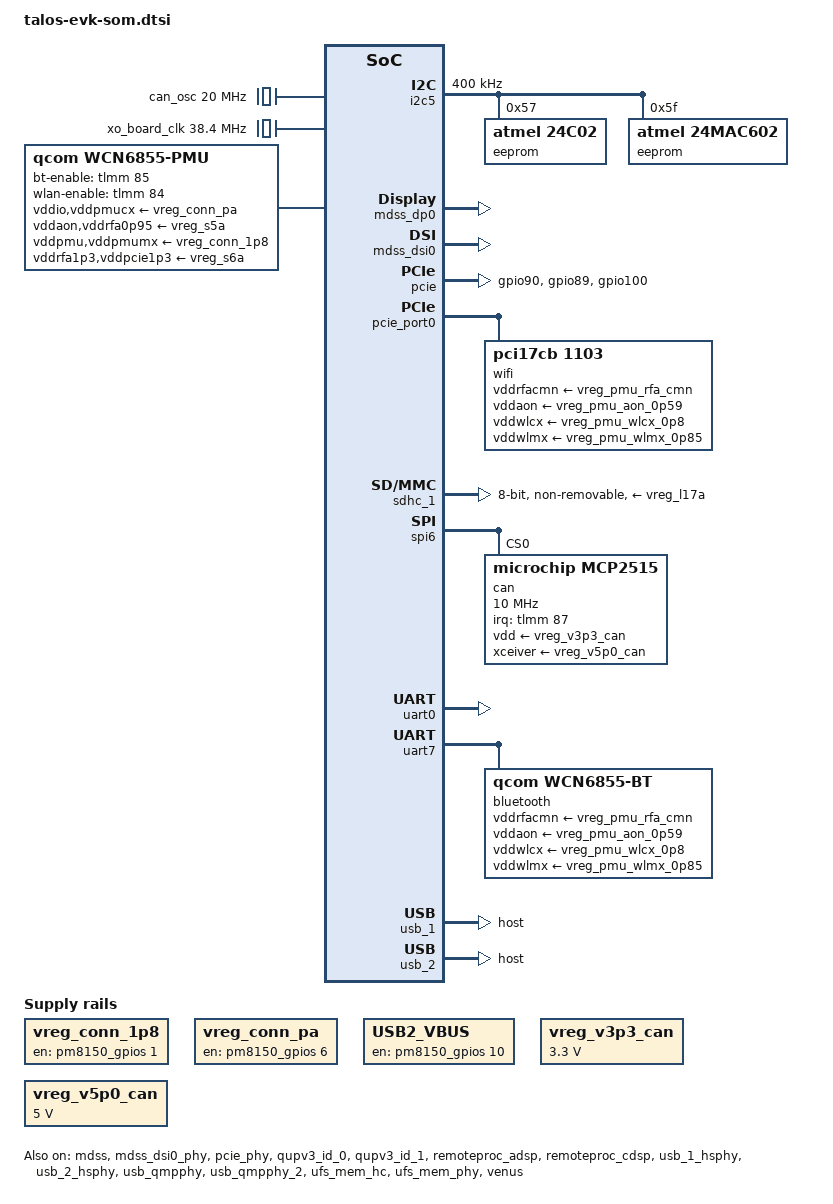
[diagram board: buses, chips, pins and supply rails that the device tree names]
// SPDX-License-Identifier: BSD-3-Clause
/*
 * Copyright (c) Qualcomm Technologies, Inc. and/or its subsidiaries.
 */
/dts-v1/;

#include <dt-bindings/gpio/gpio.h>
#include <dt-bindings/regulator/qcom,rpmh-regulator.h>
#include "talos.dtsi"
#include "pm8150.dtsi"
/ {
	aliases {
		i2c1 = &i2c1;
		i2c5 = &i2c5;
		mmc0 = &sdhc_1;
		serial0 = &uart0;
		serial1 = &uart7;
		spi6 = &spi6;
	};

	chosen {
		stdout-path = "serial0:115200n8";
	};

	clocks {
		can_osc: can-oscillator {
			compatible = "fixed-clock";
			clock-frequency = <20000000>;
			#clock-cells = <0>;
		};

		sleep_clk: sleep-clk {
			compatible = "fixed-clock";
			clock-frequency = <32764>;
			#clock-cells = <0>;
		};

		xo_board_clk: xo-board-clk {
			compatible = "fixed-clock";
			clock-frequency = <38400000>;
			#clock-cells = <0>;
		};
	};

	vreg_conn_1p8: regulator-conn-1p8 {
		compatible = "regulator-fixed";
		regulator-name = "vreg_conn_1p8";
		startup-delay-us = <4000>;
		enable-active-high;
		gpio = <&pm8150_gpios 1 GPIO_ACTIVE_HIGH>;
	};

	vreg_conn_pa: regulator-conn-pa {
		compatible = "regulator-fixed";
		regulator-name = "vreg_conn_pa";
		startup-delay-us = <4000>;
		enable-active-high;
		gpio = <&pm8150_gpios 6 GPIO_ACTIVE_HIGH>;
	};

	regulator-usb2-vbus {
		compatible = "regulator-fixed";
		regulator-name = "USB2_VBUS";
		gpio = <&pm8150_gpios 10 GPIO_ACTIVE_HIGH>;
		pinctrl-0 = <&usb2_en>;
		pinctrl-names = "default";
		enable-active-high;
		regulator-always-on;
	};

	vreg_v3p3_can: regulator-v3p3-can {
		compatible = "regulator-fixed";
		regulator-name = "vreg-v3p3-can";
		regulator-min-microvolt = <3300000>;
		regulator-max-microvolt = <3300000>;
		regulator-boot-on;
		regulator-always-on;
	};

	vreg_v5p0_can: regulator-v5p0-can {
		compatible = "regulator-fixed";
		regulator-name = "vreg-v5p0-can";
		regulator-min-microvolt = <5000000>;
		regulator-max-microvolt = <5000000>;
		regulator-boot-on;
		regulator-always-on;
	};

	wcn6855-pmu {
		compatible = "qcom,wcn6855-pmu";

		pinctrl-0 = <&bt_en_state>, <&wlan_en_state>;
		pinctrl-names = "default";

		bt-enable-gpios = <&tlmm 85 GPIO_ACTIVE_HIGH>;
		wlan-enable-gpios = <&tlmm 84 GPIO_ACTIVE_HIGH>;

		vddio-supply = <&vreg_conn_pa>;
		vddaon-supply = <&vreg_s5a>;
		vddpmu-supply = <&vreg_conn_1p8>;
		vddpmumx-supply = <&vreg_conn_1p8>;
		vddpmucx-supply = <&vreg_conn_pa>;
		vddrfa0p95-supply = <&vreg_s5a>;
		vddrfa1p3-supply = <&vreg_s6a>;
		vddrfa1p9-supply = <&vreg_l15a>;
		vddpcie1p3-supply = <&vreg_s6a>;
		vddpcie1p9-supply = <&vreg_l15a>;

		regulators {
			vreg_pmu_rfa_cmn: ldo0 {
				regulator-name = "vreg_pmu_rfa_cmn";
			};

			vreg_pmu_aon_0p59: ldo1 {
				regulator-name = "vreg_pmu_aon_0p59";
			};

			vreg_pmu_wlcx_0p8: ldo2 {
				regulator-name = "vreg_pmu_wlcx_0p8";
			};

			vreg_pmu_wlmx_0p85: ldo3 {
				regulator-name = "vreg_pmu_wlmx_0p85";
			};

			vreg_pmu_btcmx_0p85: ldo4 {
				regulator-name = "vreg_pmu_btcmx_0p85";
			};

			vreg_pmu_rfa_0p8: ldo5 {
				regulator-name = "vreg_pmu_rfa_0p8";
			};

			vreg_pmu_rfa_1p2: ldo6 {
				regulator-name = "vreg_pmu_rfa_1p2";
			};

			vreg_pmu_rfa_1p7: ldo7 {
				regulator-name = "vreg_pmu_rfa_1p7";
			};

			vreg_pmu_pcie_0p9: ldo8 {
				regulator-name = "vreg_pmu_pcie_0p9";
			};

			vreg_pmu_pcie_1p8: ldo9 {
				regulator-name = "vreg_pmu_pcie_1p8";
			};
		};
	};
};

&apps_rsc {
	regulators-0 {
		compatible = "qcom,pm8150-rpmh-regulators";
		qcom,pmic-id = "a";

		vreg_s3a: smps3 {
			regulator-name = "vreg_s3a";
			regulator-min-microvolt = <600000>;
			regulator-max-microvolt = <650000>;
			regulator-initial-mode = <RPMH_REGULATOR_MODE_HPM>;
		};

		vreg_s4a: smps4 {
			regulator-name = "vreg_s4a";
			regulator-min-microvolt = <1800000>;
			regulator-max-microvolt = <1829000>;
			regulator-initial-mode = <RPMH_REGULATOR_MODE_HPM>;
		};

		vreg_s5a: smps5 {
			regulator-name = "vreg_s5a";
			regulator-min-microvolt = <1896000>;
			regulator-max-microvolt = <2040000>;
			regulator-initial-mode = <RPMH_REGULATOR_MODE_HPM>;
		};

		vreg_s6a: smps6 {
			regulator-name = "vreg_s6a";
			regulator-min-microvolt = <1304000>;
			regulator-max-microvolt = <1404000>;
			regulator-initial-mode = <RPMH_REGULATOR_MODE_HPM>;
		};

		vreg_l1a: ldo1 {
			regulator-name = "vreg_l1a";
			regulator-min-microvolt = <488000>;
			regulator-max-microvolt = <852000>;
			regulator-initial-mode = <RPMH_REGULATOR_MODE_LPM>;
			regulator-allow-set-load;
			regulator-allowed-modes = <RPMH_REGULATOR_MODE_LPM
						   RPMH_REGULATOR_MODE_HPM>;
		};

		vreg_l2a: ldo2 {
			regulator-name = "vreg_l2a";
			regulator-min-microvolt = <1650000>;
			regulator-max-microvolt = <3100000>;
			regulator-initial-mode = <RPMH_REGULATOR_MODE_LPM>;
			regulator-allow-set-load;
			regulator-allowed-modes = <RPMH_REGULATOR_MODE_LPM
						   RPMH_REGULATOR_MODE_HPM>;
		};

		vreg_l3a: ldo3 {
			regulator-name = "vreg_l3a";
			regulator-min-microvolt = <1000000>;
			regulator-max-microvolt = <1248000>;
			regulator-initial-mode = <RPMH_REGULATOR_MODE_LPM>;
			regulator-allow-set-load;
			regulator-allowed-modes = <RPMH_REGULATOR_MODE_LPM
						   RPMH_REGULATOR_MODE_HPM>;
		};

		vreg_l5a: ldo5 {
			regulator-name = "vreg_l5a";
			regulator-min-microvolt = <875000>;
			regulator-max-microvolt = <975000>;
			regulator-initial-mode = <RPMH_REGULATOR_MODE_HPM>;
			regulator-allow-set-load;
			regulator-allowed-modes = <RPMH_REGULATOR_MODE_LPM
						   RPMH_REGULATOR_MODE_HPM>;
		};

		vreg_l7a: ldo7 {
			regulator-name = "vreg_l7a";
			regulator-min-microvolt = <1800000>;
			regulator-max-microvolt = <1900000>;
			regulator-initial-mode = <RPMH_REGULATOR_MODE_HPM>;
			regulator-allow-set-load;
			regulator-allowed-modes = <RPMH_REGULATOR_MODE_LPM
						   RPMH_REGULATOR_MODE_HPM>;
		};

		vreg_l8a: ldo8 {
			regulator-name = "vreg_l8a";
			regulator-min-microvolt = <1150000>;
			regulator-max-microvolt = <1350000>;
			regulator-initial-mode = <RPMH_REGULATOR_MODE_HPM>;
			regulator-allow-set-load;
			regulator-allowed-modes = <RPMH_REGULATOR_MODE_LPM
						   RPMH_REGULATOR_MODE_HPM>;
		};

		vreg_l10a: ldo10 {
			regulator-name = "vreg_l10a";
			regulator-min-microvolt = <2950000>;
			regulator-max-microvolt = <3312000>;
			regulator-initial-mode = <RPMH_REGULATOR_MODE_HPM>;
			regulator-allow-set-load;
			regulator-allowed-modes = <RPMH_REGULATOR_MODE_LPM
						   RPMH_REGULATOR_MODE_HPM>;
		};

		vreg_l11a: ldo11 {
			regulator-name = "vreg_l11a";
			regulator-min-microvolt = <1232000>;
			regulator-max-microvolt = <1260000>;
			regulator-initial-mode = <RPMH_REGULATOR_MODE_LPM>;
			regulator-allow-set-load;
			regulator-allowed-modes = <RPMH_REGULATOR_MODE_LPM
						   RPMH_REGULATOR_MODE_HPM>;
		};

		vreg_l12a: ldo12 {
			regulator-name = "vreg_l12a";
			regulator-min-microvolt = <1800000>;
			regulator-max-microvolt = <1890000>;
			regulator-initial-mode = <RPMH_REGULATOR_MODE_HPM>;
		};

		vreg_l13a: ldo13 {
			regulator-name = "vreg_l13a";
			regulator-min-microvolt = <3000000>;
			regulator-max-microvolt = <3230000>;
			regulator-initial-mode = <RPMH_REGULATOR_MODE_LPM>;
			regulator-allow-set-load;
			regulator-allowed-modes = <RPMH_REGULATOR_MODE_LPM
						   RPMH_REGULATOR_MODE_HPM>;
		};

		vreg_l15a: ldo15 {
			regulator-name = "vreg_l15a";
			regulator-min-microvolt = <1800000>;
			regulator-max-microvolt = <1904000>;
			regulator-initial-mode = <RPMH_REGULATOR_MODE_LPM>;
			regulator-allow-set-load;
			regulator-allowed-modes = <RPMH_REGULATOR_MODE_LPM
						   RPMH_REGULATOR_MODE_HPM>;
		};

		vreg_l16a: ldo16 {
			regulator-name = "vreg_l16a";
			regulator-min-microvolt = <3000000>;
			regulator-max-microvolt = <3312000>;
			regulator-initial-mode = <RPMH_REGULATOR_MODE_LPM>;
			regulator-allow-set-load;
			regulator-allowed-modes = <RPMH_REGULATOR_MODE_LPM
						   RPMH_REGULATOR_MODE_HPM>;
		};

		vreg_l17a: ldo17 {
			regulator-name = "vreg_l17a";
			regulator-min-microvolt = <2950000>;
			regulator-max-microvolt = <3312000>;
			regulator-initial-mode = <RPMH_REGULATOR_MODE_HPM>;
		};
	};
};

&gpi_dma0 {
	status = "okay";
};

&gpi_dma1 {
	status = "okay";
};

&i2c5 {
	clock-frequency = <400000>;
	status = "okay";

	eeprom@57 {
		compatible = "atmel,24c02";
		reg = <0x57>;
		pagesize = <16>;
	};

	eeprom@5f {
		compatible = "atmel,24mac602";
		reg = <0x5f>;
		pagesize = <16>;
	};
};

&mdss {
	status = "okay";
};

&mdss_dp0 {
	status = "okay";
};

&mdss_dp0_out {
	link-frequencies = /bits/ 64 <1620000000 2700000000 5400000000>;
	remote-endpoint = <&dp0_connector_in>;
};

&mdss_dsi0 {
	vdda-supply = <&vreg_l11a>;
	status = "okay";
};

&mdss_dsi0_phy {
	vcca-supply = <&vreg_l5a>;
	status = "okay";
};

&pcie {
	perst-gpios = <&tlmm 89 GPIO_ACTIVE_LOW>;
	wake-gpios = <&tlmm 100 GPIO_ACTIVE_HIGH>;

	pinctrl-0 = <&pcie_default_state>;
	pinctrl-names = "default";

	status = "okay";
};

&pcie_phy {
	vdda-phy-supply = <&vreg_l5a>;
	vdda-pll-supply = <&vreg_l12a>;

	status = "okay";
};

&pcie_port0 {
	wifi@0 {
		compatible = "pci17cb,1103";
		reg = <0x10000 0x0 0x0 0x0 0x0>;

		qcom,calibration-variant = "QC_QCS615_Ride";

		vddrfacmn-supply = <&vreg_pmu_rfa_cmn>;
		vddaon-supply = <&vreg_pmu_aon_0p59>;
		vddwlcx-supply = <&vreg_pmu_wlcx_0p8>;
		vddwlmx-supply = <&vreg_pmu_wlmx_0p85>;
		vddrfa0p8-supply = <&vreg_pmu_rfa_0p8>;
		vddrfa1p2-supply = <&vreg_pmu_rfa_1p2>;
		vddrfa1p8-supply = <&vreg_pmu_rfa_1p7>;
		vddpcie0p9-supply = <&vreg_pmu_pcie_0p9>;
		vddpcie1p8-supply = <&vreg_pmu_pcie_1p8>;
	};
};

&pm8150_gpios {
	usb2_en: usb2-en-state {
		pins = "gpio10";
		function = "normal";
		output-enable;
		power-source = <0>;
	};
};

&qupv3_id_0 {
	status = "okay";
};

&qupv3_id_1 {
	status = "okay";
};

&remoteproc_adsp {
	firmware-name = "qcom/qcs615/adsp.mbn";

	status = "okay";
};

&remoteproc_cdsp {
	firmware-name = "qcom/qcs615/cdsp.mbn";

	status = "okay";
};

&sdhc_1 {
	pinctrl-0 = <&sdc1_state_on>;
	pinctrl-1 = <&sdc1_state_off>;
	pinctrl-names = "default", "sleep";

	bus-width = <8>;
	mmc-ddr-1_8v;
	mmc-hs200-1_8v;
	mmc-hs400-1_8v;
	mmc-hs400-enhanced-strobe;
	vmmc-supply = <&vreg_l17a>;
	vqmmc-supply = <&vreg_s4a>;

	non-removable;
	no-sd;
	no-sdio;

	status = "okay";
};

&spi6 {
	status = "okay";

	can@0 {
		compatible = "microchip,mcp2515";
		reg = <0>;
		clocks = <&can_osc>;
		interrupts-extended = <&tlmm 87 IRQ_TYPE_LEVEL_LOW>;
		spi-max-frequency = <10000000>;
		vdd-supply = <&vreg_v3p3_can>;
		xceiver-supply = <&vreg_v5p0_can>;
	};
};

&tlmm {
	bt_en_state: bt-en-state {
		pins = "gpio85";
		function = "gpio";
		bias-pull-down;
	};

	cam1_reset_default: cam1-reset-default-state {
		pins = "gpio29";
		function = "gpio";
		drive-strength = <2>;
		bias-disable;
	};

	pcie_default_state: pcie-default-state {
		clkreq-pins {
			pins = "gpio90";
			function = "pcie_clk_req";
			drive-strength = <2>;
			bias-pull-up;
		};

		perst-pins {
			pins = "gpio89";
			function = "gpio";
			drive-strength = <2>;
			bias-pull-down;
		};

		wake-pins {
			pins = "gpio100";
			function = "gpio";
			drive-strength = <2>;
			bias-pull-up;
		};
	};

	wifi_reg_en_pins_state: wifi-reg-en-pins-state {
		pins = "gpio91";
		function = "gpio";
		drive-strength = <8>;
		output-high;
		bias-pull-up;
	};

	wlan_en_state: wlan-en-state {
		pins = "gpio84";
		function = "gpio";
		drive-strength = <16>;
		bias-pull-up;
	};
};

&uart0 {
	status = "okay";
};

&uart7 {
	status = "okay";

	bluetooth {
		compatible = "qcom,wcn6855-bt";
		firmware-name = "QCA6698/hpnv21", "QCA6698/hpbtfw21.tlv";

		vddrfacmn-supply = <&vreg_pmu_rfa_cmn>;
		vddaon-supply = <&vreg_pmu_aon_0p59>;
		vddwlcx-supply = <&vreg_pmu_wlcx_0p8>;
		vddwlmx-supply = <&vreg_pmu_wlmx_0p85>;
		vddbtcmx-supply = <&vreg_pmu_btcmx_0p85>;
		vddrfa0p8-supply = <&vreg_pmu_rfa_0p8>;
		vddrfa1p2-supply = <&vreg_pmu_rfa_1p2>;
		vddrfa1p8-supply = <&vreg_pmu_rfa_1p7>;
	};
};

/*
 * USB0 routing and EDL mode:
 *
 * The USB0 controller’s HS differential pair is switched (manually)
 * between the Micro-USB port for EDL/ADB and the on-board USB 3.0 hub.
 *
 * During EDL (Emergency Download) mode, the HS lines are explicitly
 * routed to the Micro-USB port to allow the SoC to enter device mode
 * for flashing.
 *
 * After EDL the switch is normally toggled so the HS lines stay
 * connected to the hub’s Type-A downstream ports, leaving no electrical
 * path to the Micro-USB connector — therefore USB0 runs host-only in
 * normal runtime and device mode must not be advertised.
 *
 * USB0 is configured host-only in the base device tree; a separate
 * device-tree overlay enables the Micro-USB peripheral configuration for
 * ADB. For ADB to work during normal runtime the DIP switch SW1 must be
 * manually toggled to the off position (reconnecting the HS pair to the
 * Micro-USB port).
 */

&usb_1 {
	dr_mode = "host";

	status = "okay";
};

&usb_1_hsphy {
	vdd-supply = <&vreg_l5a>;
	vdda-pll-supply = <&vreg_l12a>;
	vdda-phy-dpdm-supply = <&vreg_l13a>;

	status = "okay";
};

&usb_2 {
	dr_mode = "host";

	status = "okay";
};

&usb_2_hsphy {
	vdd-supply = <&vreg_l5a>;
	vdda-pll-supply = <&vreg_l12a>;
	vdda-phy-dpdm-supply = <&vreg_l13a>;

	status = "okay";
};

&usb_qmpphy {
	vdda-phy-supply = <&vreg_l5a>;
	vdda-pll-supply = <&vreg_l12a>;

	status = "okay";
};

&usb_qmpphy_2 {
	vdda-phy-supply = <&vreg_l11a>;
	vdda-pll-supply = <&vreg_l5a>;

	status = "okay";
};

&ufs_mem_hc {
	reset-gpios = <&tlmm 123 GPIO_ACTIVE_LOW>;
	vcc-supply = <&vreg_l17a>;
	vcc-max-microamp = <600000>;
	vccq2-supply = <&vreg_s4a>;
	vccq2-max-microamp = <600000>;

	status = "okay";
};

&ufs_mem_phy {
	vdda-phy-supply = <&vreg_l5a>;
	vdda-pll-supply = <&vreg_l12a>;

	status = "okay";
};

&venus {
	status = "okay";
};
